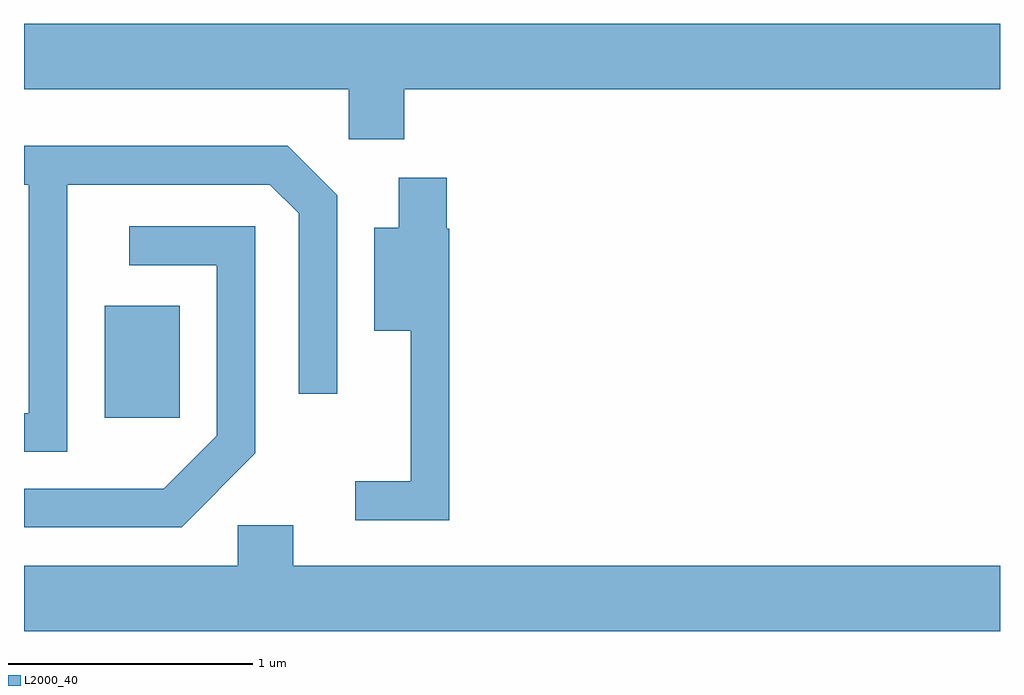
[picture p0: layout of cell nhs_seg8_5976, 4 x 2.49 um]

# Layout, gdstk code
import gdstk
lib = gdstk.Library(unit=1e-6, precision=1e-09)
def R(c, l, rs):  # rectangles x0, y0, x1, y1
    for r in rs: c.add(gdstk.rectangle(r[:2], r[2:], *l))
def P(c, l, *ps):  # polygons
    for p in ps: c.add(gdstk.Polygon(p, *l))
L2000_40 = (2000, 40)

nhs_seg8_5976 = lib.new_cell('nhs_seg8_5976')
R(nhs_seg8_5976, L2000_40, [(363.941,1903.891,364.249,1904.349)])
P(nhs_seg8_5976, L2000_40, [(365.169,1905.236),(367.611,1905.236),(367.611,1905.504),(363.611,1905.504),(363.611,1905.236),(364.941,1905.236),(364.941,1905.031),(365.169,1905.031)],
  [(363.789,1904.846),(364.619,1904.846),(364.736,1904.729),(364.736,1903.988),(364.894,1903.988),(364.894,1904.802),(364.692,1905.004),(363.611,1905.004),(363.611,1904.846),(363.631,1904.846),(363.631,1903.909),(363.611,1903.909),(363.611,1903.751),(363.789,1903.751)],
  [(365.354,1904.665),(365.344,1904.665),(365.344,1904.874),(365.146,1904.874),(365.146,1904.669),(365.046,1904.669),(365.046,1904.246),(365.196,1904.246),(365.196,1903.629),(364.968,1903.629),(364.968,1903.471),(365.354,1903.471)],
  [(364.559,1903.744),(364.559,1904.674),(364.043,1904.674),(364.043,1904.516),(364.401,1904.516),(364.401,1903.817),(364.184,1903.599),(363.611,1903.599),(363.611,1903.441),(364.257,1903.441)],
  [(367.611,1903.284),(364.714,1903.284),(364.714,1903.449),(364.486,1903.449),(364.486,1903.284),(363.611,1903.284),(363.611,1903.016),(367.611,1903.016)])

lib.write_gds('nhs_seg8_5976.gds')
